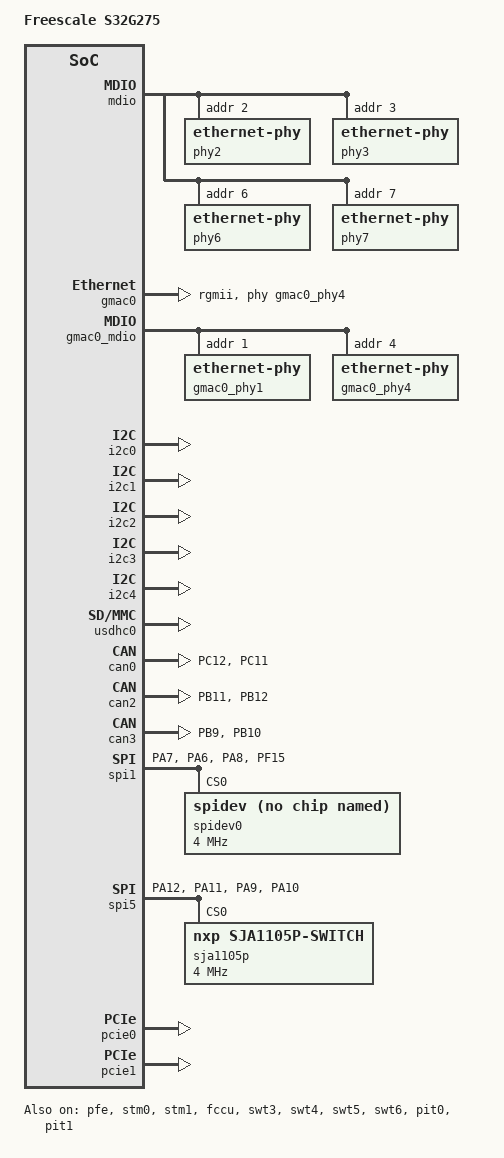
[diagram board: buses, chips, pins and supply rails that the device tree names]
/*
 * Copyright 2019-2020 NXP
 *
 * This program is free software; you can redistribute it and/or modify
 * it under the terms of the GNU General Public License as published by
 * the Free Software Foundation; either version 2 of the License, or
 * (at your option) any later version.
 */

/dts-v1/;
#include "fsl-s32g274a.dtsi"
#include <dt-bindings/pinctrl/s32g275-pinctrl.h>
/ {
	model = "Freescale S32G275";
	compatible = "fsl,s32g275-simu", "fsl,s32g275",
				 "arm,vexpress,v2p-aarch64", "arm,vexpress";

	chosen {
		stdout-path = "serial0:115200n8";
	};

	memory_DDR0@80000000 {
		device_type = "memory";
		reg = <0 0x80000000 0 0x40000000>;
	};

	memory_DDR1@c0000000 {
		device_type = "memory";
		reg = <0 0xc0000000 0 0x40000000>;
	};

	memory_DDR2@880000000 {
		device_type = "memory";
		reg = <0x8 0x80000000 0 0x80000000>;
	};

	reserved-memory {
		#address-cells = <2>;
		#size-cells = <2>;
		ranges;

		pfe_reserved: pfebufs@83400000 {
			compatible = "fsl,s32g-pfe-ddr";
			reg = <0 0x83400000 0 0xc00000>;
			no-map;
			status = "okay";
		};
	};
};

&pfe {
	status = "okay";
	memory-region = <&pfe_reserved>;
	mdio {
		#address-cells = <1>;
		#size-cells = <0>;

		phy2: ethernet-phy@2 {
			reg = <2>;
		};
		phy3: ethernet-phy@3 {
			reg = <3>;
		};
		phy6: ethernet-phy@6 {
			reg = <6>;
			max-speed = <100>;
		};
		phy7: ethernet-phy@7 {
			reg = <7>;
			max-speed = <100>;
		};
	};
};

&gmac0 {
	phy-mode = "rgmii";
	phy-handle = <&gmac0_phy4>;
};

&gmac0_mdio {
	/* ARQ107 on S32RGV-VNP-PLAT */
	gmac0_phy1: ethernet-phy@1 {
		reg = <1>;
	};
	/* KSZ9031RNX on S32G-VNP-PROC */
	gmac0_phy4: ethernet-phy@4 {
		reg = <4>;
	};
	/* KSZ9031RNX on S32RGV-VNP-PLAT */
	gmac0_phy5: ethernet-phy@5 {
		status = "disabled"; /* blocked by USB by default */
		reg = <5>;
	};
};

&fxosc {
	clock-frequency = <40000000>;
};

&generic_timer {
	clock-frequency = <5000000>;
};

&i2c0 {
	status = "okay";
};

&i2c1 {
	status = "okay";
};

&i2c2 {
	status = "okay";
};

&i2c3 {
	status = "okay";
};

&i2c4 {
	status = "okay";
};
&usdhc0 {
	status = "okay";
};

&can0 {
	pinctrl-names = "default";
	pinctrl-0 = <&pinctrl0_can0>;
	status = "okay";
};

&can2 {
	pinctrl-names = "default";
	pinctrl-0 = <&pinctrl0_can2>, <&pinctrl1_can2>;
	status = "okay";
};

&can3 {
	pinctrl-names = "default";
	pinctrl-0 = <&pinctrl0_can3>, <&pinctrl1_can3>;
	status = "okay";
};

&stm0 {
	status = "okay";
};

&stm1 {
	status = "okay";
};

&fccu {
	status = "okay";
};

&swt3 {
	status = "okay";
};

&swt4 {
	status = "okay";
};

&swt5 {
	status = "okay";
};

&swt6 {
	status = "okay";
};

&pit0 {
	status = "okay";
};

&pit1 {
	status = "okay";
};

&pinctrl0 {
	status = "okay";
	s32g274a-evb {
		pinctrl0_can0: can0grp {
			fsl,pins = <
				S32_GEN1_PAD_PC12__CAN0_TXD
				S32_GEN1_PAD_PC11__CAN0_RXD_OUT
				S32_GEN1_PAD_PC11__CAN0_RXD_IN
			>;
		};

		pinctrl0_can2: can2grp {
			fsl,pins = <
				S32_GEN1_PAD_PB11__CAN2_TXD
				S32_GEN1_PAD_PB12__CAN2_RXD_OUT
			>;
		};

		pinctrl0_can3: can3grp {
		       fsl,pins = <
				S32_GEN1_PAD_PB9__CAN3_TXD
				S32_GEN1_PAD_PB10__CAN3_RXD_OUT
			   >;
		};

		pinctrl0_dspi1: dspi1grp {
			fsl,pins = <
				S32_GEN1_PAD_PA7__SPI1_CS0_OUT
				S32_GEN1_PAD_PA6__SPI1_SOUT_OUT
				S32_GEN1_PAD_PA8__SPI1_SCK_OUT
				S32_GEN1_PAD_PF15__SPI1_SIN_OUT
			>;
		};

		pinctrl0_dspi5: dspi5grp {
			fsl,pins = <
				S32_GEN1_PAD_PA12__SPI5_CS0_OUT
				S32_GEN1_PAD_PA11__SPI5_SOUT_OUT
				S32_GEN1_PAD_PA9__SPI5_SCK_OUT
				S32_GEN1_PAD_PA10__SPI5_SIN_OUT
			>;
		};

		pinctrl_gpio0: gpiogrp0 {
			fsl,pins = <
				S32_GEN1_PAD_PA0__SIUL_GPIO0
				S32_GEN1_PAD_PA1__SIUL_GPIO1
				S32_GEN1_PAD_PA2__SIUL_GPIO2
				S32_GEN1_PAD_PA3__SIUL_GPIO3
				S32_GEN1_PAD_PA4__SIUL_GPIO4
				S32_GEN1_PAD_PA5__SIUL_GPIO5
				S32_GEN1_PAD_PA6__SIUL_GPIO6
				S32_GEN1_PAD_PA7__SIUL_GPIO7
				S32_GEN1_PAD_PA8__SIUL_GPIO8
				S32_GEN1_PAD_PA9__SIUL_GPIO9
				S32_GEN1_PAD_PA10__SIUL_GPI10
				S32_GEN1_PAD_PA11__SIUL_GPIO11
				S32_GEN1_PAD_PA12__SIUL_GPIO12
				S32_GEN1_PAD_PA13__SIUL_GPIO13
				S32_GEN1_PAD_PA14__SIUL_GPIO14
				S32_GEN1_PAD_PA15__SIUL_GPIO15
				S32_GEN1_PAD_PB0__SIUL_GPIO16
				S32_GEN1_PAD_PB1__SIUL_GPIO17
				S32_GEN1_PAD_PB2__SIUL_GPIO18
				S32_GEN1_PAD_PB3__SIUL_GPIO19
				S32_GEN1_PAD_PB4__SIUL_GPIO20
				S32_GEN1_PAD_PB5__SIUL_GPIO21
				S32_GEN1_PAD_PB6__SIUL_GPIO22
				S32_GEN1_PAD_PB7__SIUL_GPIO23
				S32_GEN1_PAD_PB8__SIUL_GPIO24
				S32_GEN1_PAD_PB9__SIUL_GPIO25
				S32_GEN1_PAD_PB10__SIUL_GPIO26
				S32_GEN1_PAD_PB11__SIUL_GPIO27
				S32_GEN1_PAD_PB12__SIUL_GPIO28
				S32_GEN1_PAD_PB13__SIUL_GPIO29
				S32_GEN1_PAD_PB14__SIUL_GPIO30
				S32_GEN1_PAD_PB15__SIUL_GPIO31
				S32_GEN1_PAD_PC0__SIUL_GPIO32
				S32_GEN1_PAD_PC1__SIUL_GPIO33
				S32_GEN1_PAD_PC2__SIUL_GPIO34
				S32_GEN1_PAD_PC3__SIUL_GPIO35
				S32_GEN1_PAD_PC4__SIUL_GPI36
				S32_GEN1_PAD_PC5__SIUL_GPIO37
				S32_GEN1_PAD_PC6__SIUL_GPIO38
				S32_GEN1_PAD_PC7__SIUL_GPIO39
				S32_GEN1_PAD_PC8__SIUL_GPIO40
				S32_GEN1_PAD_PC9__SIUL_GPIO41
				S32_GEN1_PAD_PC10__SIUL_GPIO42
				S32_GEN1_PAD_PC11__SIUL_GPI43
				S32_GEN1_PAD_PC12__SIUL_GPIO44
				S32_GEN1_PAD_PC13__SIUL_GPIO45
				S32_GEN1_PAD_PC14__SIUL_GPIO46
				S32_GEN1_PAD_PC15__SIUL_GPIO47
				S32_GEN1_PAD_PD0__SIUL_GPIO48
				S32_GEN1_PAD_PD1__SIUL_GPIO49
				S32_GEN1_PAD_PD2__SIUL_GPIO50
				S32_GEN1_PAD_PD3__SIUL_GPIO51
				S32_GEN1_PAD_PD4__SIUL_GPIO52
				S32_GEN1_PAD_PD5__SIUL_GPIO53
				S32_GEN1_PAD_PD6__SIUL_GPIO54
				S32_GEN1_PAD_PD7__SIUL_GPIO55
				S32_GEN1_PAD_PD8__SIUL_GPIO56
				S32_GEN1_PAD_PD9__SIUL_GPIO57
				S32_GEN1_PAD_PD10__SIUL_GPIO58
				S32_GEN1_PAD_PD11__SIUL_GPIO59
				S32_GEN1_PAD_PD12__SIUL_GPIO60
				S32_GEN1_PAD_PD13__SIUL_GPIO61
				S32_GEN1_PAD_PD14__SIUL_GPIO62
				S32_GEN1_PAD_PD15__SIUL_GPIO63
				S32_GEN1_PAD_PE0__SIUL_GPIO64
				S32_GEN1_PAD_PE1__SIUL_GPIO65
				S32_GEN1_PAD_PE2__SIUL_GPIO66
				S32_GEN1_PAD_PE3__SIUL_GPIO67
				S32_GEN1_PAD_PE4__SIUL_GPIO68
				S32_GEN1_PAD_PE5__SIUL_GPIO69
				S32_GEN1_PAD_PE6__SIUL_GPIO70
				S32_GEN1_PAD_PE7__SIUL_GPIO71
				S32_GEN1_PAD_PE8__SIUL_GPIO72
				S32_GEN1_PAD_PE9__SIUL_GPIO73
				S32_GEN1_PAD_PE10__SIUL_GPIO74
				S32_GEN1_PAD_PE11__SIUL_GPIO75
				S32_GEN1_PAD_PE12__SIUL_GPIO76
				S32_GEN1_PAD_PE13__SIUL_GPIO77
				S32_GEN1_PAD_PE14__SIUL_GPIO78
				S32_GEN1_PAD_PE15__SIUL_GPIO79
				S32_GEN1_PAD_PF0__SIUL_GPIO80
				S32_GEN1_PAD_PF1__SIUL_GPIO81
				S32_GEN1_PAD_PF2__SIUL_GPIO82
				S32_GEN1_PAD_PF3__SIUL_GPIO83
				S32_GEN1_PAD_PF4__SIUL_GPIO84
				S32_GEN1_PAD_PF5__SIUL_GPIO85
				S32_GEN1_PAD_PF6__SIUL_GPIO86
				S32_GEN1_PAD_PF7__SIUL_GPIO87
				S32_GEN1_PAD_PF8__SIUL_GPIO88
				S32_GEN1_PAD_PF9__SIUL_GPIO89
				S32_GEN1_PAD_PF10__SIUL_GPIO90
				S32_GEN1_PAD_PF11__SIUL_GPIO91
				S32_GEN1_PAD_PF12__SIUL_GPIO92
				S32_GEN1_PAD_PF13__SIUL_GPIO93
				S32_GEN1_PAD_PF14__SIUL_GPIO94
				S32_GEN1_PAD_PF15__SIUL_GPIO95
				S32_GEN1_PAD_PG0__SIUL_GPIO96
				S32_GEN1_PAD_PG1__SIUL_GPIO97
				S32_GEN1_PAD_PG2__SIUL_GPIO98
				S32_GEN1_PAD_PG3__SIUL_GPIO99
				S32_GEN1_PAD_PG4__SIUL_GPIO100
				S32_GEN1_PAD_PG5__SIUL_GPIO101
				>;
		};
	};
};

&pinctrl1 {
	status = "okay";
	s32g274a-evb {
		pinctrl1_can2: can2grp {
			fsl,pins = <
				S32_GEN1_PAD_PB12__CAN2_RXD_IN
			>;
		};

		pinctrl1_can3: can3grp {
			fsl,pins = <
				S32_GEN1_PAD_PB10__CAN3_RXD_IN
			>;
		};

		pinctrl1_dspi1: dspi1grp {
			fsl,pins = <
				S32_GEN1_PAD_PF15__SPI1_SIN_IN
			>;
		};

		pinctrl1_dspi5: dspi5grp {
			fsl,pins = <
				S32_GEN1_PAD_PA10__SPI5_SIN_IN
			>;
		};

		pinctrl_gpio1: gpiogrp1 {
			fsl,pins = <
				S32_GEN1_PAD_PH0__SIUL_GPIO112
				S32_GEN1_PAD_PH1__SIUL_GPIO113
				S32_GEN1_PAD_PH2__SIUL_GPIO114
				S32_GEN1_PAD_PH3__SIUL_GPIO115
				S32_GEN1_PAD_PH4__SIUL_GPIO116
				S32_GEN1_PAD_PH5__SIUL_GPIO117
				S32_GEN1_PAD_PH6__SIUL_GPIO118
				S32_GEN1_PAD_PH7__SIUL_GPIO119
				S32_GEN1_PAD_PH8__SIUL_GPIO120
				S32_GEN1_PAD_PH9__SIUL_GPIO121
				S32_GEN1_PAD_PH10__SIUL_GPIO122
				S32_GEN1_PAD_PJ0__SIUL_GPIO144
				S32_GEN1_PAD_PJ2__SIUL_GPI146
				S32_GEN1_PAD_PJ3__SIUL_GPIO147
				S32_GEN1_PAD_PJ4__SIUL_GPI148
				S32_GEN1_PAD_PJ5__SIUL_GPIO149
				S32_GEN1_PAD_PJ6__SIUL_GPI150
				S32_GEN1_PAD_PJ7__SIUL_GPIO151
				S32_GEN1_PAD_PJ8__SIUL_GPI152
				S32_GEN1_PAD_PJ9__SIUL_GPIO153
				S32_GEN1_PAD_PJ10__SIUL_GPI154
				S32_GEN1_PAD_PJ11__SIUL_GPIO155
				S32_GEN1_PAD_PJ12__SIUL_GPI156
				S32_GEN1_PAD_PJ13__SIUL_GPIO157
				S32_GEN1_PAD_PJ14__SIUL_GPI158
				S32_GEN1_PAD_PJ15__SIUL_GPIO159
				S32_GEN1_PAD_PK00__SIUL_GPI160
				S32_GEN1_PAD_PK01__SIUL_GPIO161
				S32_GEN1_PAD_PK02__SIUL_GPI162
				S32_GEN1_PAD_PK03__SIUL_GPIO163
				S32_GEN1_PAD_PK04__SIUL_GPI164
				S32_GEN1_PAD_PK05__SIUL_GPIO165
				S32_GEN1_PAD_PK06__SIUL_GPI166
				S32_GEN1_PAD_PK07__SIUL_GPIO167
				S32_GEN1_PAD_PK08__SIUL_GPI168
				S32_GEN1_PAD_PK09__SIUL_GPIO169
				S32_GEN1_PAD_PK10__SIUL_GPI170
				S32_GEN1_PAD_PK11__SIUL_GPIO171
				S32_GEN1_PAD_PK12__SIUL_GPI172
				S32_GEN1_PAD_PK13__SIUL_GPIO173
				S32_GEN1_PAD_PK14__SIUL_GPI174
				S32_GEN1_PAD_PK15__SIUL_GPIO175
				S32_GEN1_PAD_PL0__SIUL_GPIO176
				S32_GEN1_PAD_PL1__SIUL_GPI177
				S32_GEN1_PAD_PL3__SIUL_GPI179
				S32_GEN1_PAD_PL4__SIUL_GPIO180
				S32_GEN1_PAD_PL5__SIUL_GPIO181
				S32_GEN1_PAD_PL6__SIUL_GPI182
				S32_GEN1_PAD_PL7__SIUL_GPI183
				S32_GEN1_PAD_PL8__SIUL_GPIO184
				S32_GEN1_PAD_PL9__SIUL_GPIO185
				S32_GEN1_PAD_PL10__SIUL_GPIO186
				S32_GEN1_PAD_PL11__SIUL_GPIO187
				S32_GEN1_PAD_PL12__SIUL_GPIO188
				S32_GEN1_PAD_PL13__SIUL_GPIO189
				S32_GEN1_PAD_PL14__SIUL_GPIO190
				>;
		};
		pinctrl_gpioeirq0: gpioeirqgrp0 {
			fsl,pins = <
				S32_GEN1_PAD_PB3__SIUL_EIRQ0
				S32_GEN1_PAD_PB4__SIUL_EIRQ1
				S32_GEN1_PAD_PB5__SIUL_EIRQ2
				S32_GEN1_PAD_PB6__SIUL_EIRQ3
				S32_GEN1_PAD_PB7__SIUL_EIRQ4
				S32_GEN1_PAD_PB8__SIUL_EIRQ5
				S32_GEN1_PAD_PB9__SIUL_EIRQ6
				S32_GEN1_PAD_PB10__SIUL_EIRQ7
				S32_GEN1_PAD_PB11__SIUL_EIRQ8
				S32_GEN1_PAD_PB12__SIUL_EIRQ9
				S32_GEN1_PAD_PB13__SIUL_EIRQ10
				S32_GEN1_PAD_PK8__SIUL_EIRQ11
				S32_GEN1_PAD_PB15__SIUL_EIRQ12
				S32_GEN1_PAD_PC1__SIUL_EIRQ13
				S32_GEN1_PAD_PC2__SIUL_EIRQ14
				S32_GEN1_PAD_PC3__SIUL_EIRQ15
				S32_GEN1_PAD_PL8__SIUL_EIRQ16
				S32_GEN1_PAD_PL9__SIUL_EIRQ17
				S32_GEN1_PAD_PL10__SIUL_EIRQ18
				S32_GEN1_PAD_PL11__SIUL_EIRQ19
				S32_GEN1_PAD_PL12__SIUL_EIRQ20
				S32_GEN1_PAD_PL13__SIUL_EIRQ21
				S32_GEN1_PAD_PL14__SIUL_EIRQ22
				S32_GEN1_PAD_PH1__SIUL_EIRQ23
				S32_GEN1_PAD_PH2__SIUL_EIRQ24
				S32_GEN1_PAD_PH3__SIUL_EIRQ25
				S32_GEN1_PAD_PH5__SIUL_EIRQ26
				S32_GEN1_PAD_PC4__SIUL_EIRQ27
				S32_GEN1_PAD_PC5__SIUL_EIRQ28
				S32_GEN1_PAD_PC6__SIUL_EIRQ29
				S32_GEN1_PAD_PC7__SIUL_EIRQ30
				S32_GEN1_PAD_PC8__SIUL_EIRQ31
				>;
		};
	};
};

&edma0 {
	status = "okay";
};

&edma1 {
	status = "okay";
};

&spi1 {
	pinctrl-names = "default";
	pinctrl-0 = <&pinctrl0_dspi1>, <&pinctrl1_dspi1>;
	#address-cells = <1>;
	#size-cells = <0>;
	status = "okay";

	spidev0: spidev@0 {
		compatible = "spidev";
		spi-max-frequency = <4000000>;
		reg = <0>;
	};
};

&spi5 {
	pinctrl-names = "default";
	pinctrl-0 = <&pinctrl0_dspi5>, <&pinctrl1_dspi5>;
	#address-cells = <1>;
	#size-cells = <0>;
	status = "okay";

	sja1105p@0 {
		compatible = "nxp,sja1105p-switch";
		spi-max-frequency = <0x3D0900>;
		spi-cpha;
		fsl,spi-cs-sck-delay = <100>;
		fsl,spi-sck-cs-delay = <100>;

		reg = <0>;
		port-0 {
			is-host = <0x1>;
			null-phy = <0x1>;
			phy-ref = < 0 >;
		};
		port-1 {
			is-host = <0x0>;
			null-phy = <0x1>;
			phy-ref = < 0 >;
		};
		port-2 {
			is-host = <0x0>;
			null-phy = <0x1>;
			phy-ref = < 0 >;
		};
		port-3 {
			is-host = <0x0>;
			null-phy = <0x0>;
			phy-ref = < &phy2 >;
		};
		port-4 {
			is-host = <0x0>;
			null-phy = <0x0>;
			phy-ref = < &phy3 >;
		};
	};
};

&pcie0 {
	status = "okay";
};

&pcie1 {
	status = "okay";
};
